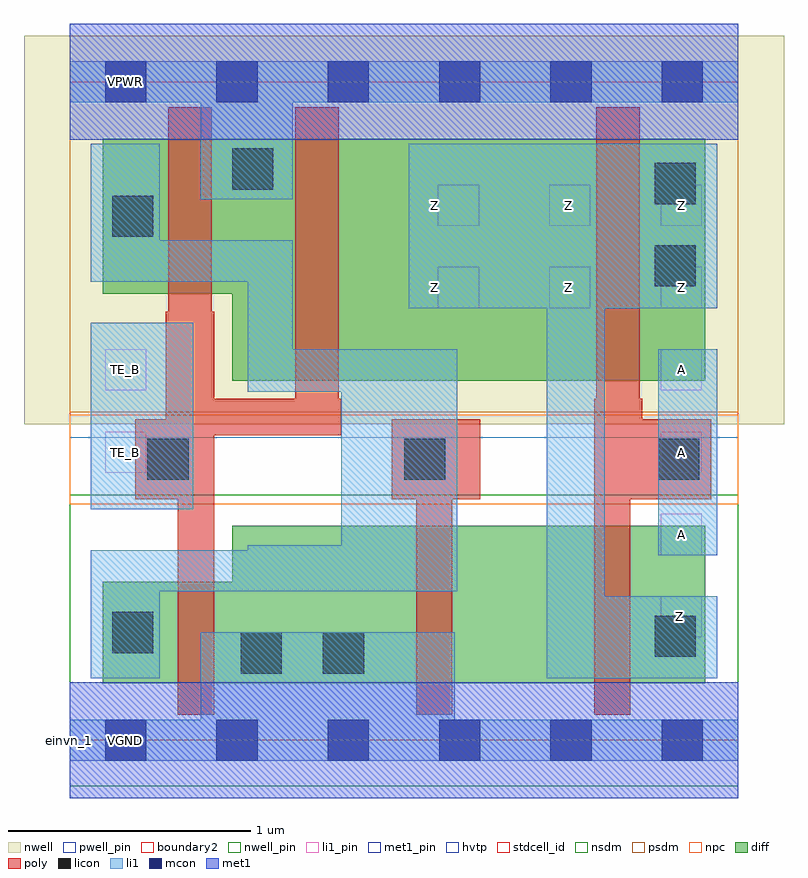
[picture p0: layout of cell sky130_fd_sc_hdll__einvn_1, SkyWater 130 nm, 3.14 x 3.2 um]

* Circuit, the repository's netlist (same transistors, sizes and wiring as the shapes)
* Copyright 2020 The SkyWater PDK Authors
*
* Licensed under the Apache License, Version 2.0 (the "License");
* you may not use this file except in compliance with the License.
* You may obtain a copy of the License at
*
*     https://www.apache.org/licenses/LICENSE-2.0
*
* Unless required by applicable law or agreed to in writing, software
* distributed under the License is distributed on an "AS IS" BASIS,
* WITHOUT WARRANTIES OR CONDITIONS OF ANY KIND, either express or implied.
* See the License for the specific language governing permissions and
* limitations under the License.
*
* SPDX-License-Identifier: Apache-2.0

.SUBCKT sky130_fd_sc_hdll__einvn_1 A TE_B VGND VNB VPB VPWR Z
*.PININFO A:I TE_B:I VGND:I VNB:I VPB:I VPWR:I Z:O
MMN0 Z A sndA VNB sky130_fd_pr__nfet_01v8 m=1 w=0.65U l=0.15U mult=1 sa=0.265 sb=0.265
+ sd=0.28 area=0.063 perim=1.14
MMN1 sndA net25 VGND VNB sky130_fd_pr__nfet_01v8 m=1 w=0.65U l=0.15U mult=1 sa=0.265
+ sb=0.265 sd=0.28 area=0.063 perim=1.14
MMIN1 net25 TE_B VGND VNB sky130_fd_pr__nfet_01v8 m=1 w=0.42U l=0.15U mult=1 sa=0.265
+ sb=0.265 sd=0.28 area=0.063 perim=1.14
MMP0 VPWR TE_B sndTEB VPB sky130_fd_pr__pfet_01v8_hvt m=1 w=1.0U l=0.18U mult=1
+ sa=0.265 sb=0.265 sd=0.28 area=0.063 perim=1.14
MMP1 sndTEB A Z VPB sky130_fd_pr__pfet_01v8_hvt m=1 w=1.0U l=0.18U mult=1 sa=0.265
+ sb=0.265 sd=0.28 area=0.063 perim=1.14
MMIP1 net25 TE_B VPWR VPB sky130_fd_pr__pfet_01v8_hvt m=1 w=0.64U l=0.18U mult=1
+ sa=0.265 sb=0.265 sd=0.28 area=0.063 perim=1.14
.ENDS sky130_fd_sc_hdll__einvn_1

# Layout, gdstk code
import gdstk
lib = gdstk.Library(unit=1e-6, precision=1e-09)
def R(c, l, rs):  # rectangles x0, y0, x1, y1
    for r in rs: c.add(gdstk.rectangle(r[:2], r[2:], *l))
def A(c, l, x, y, w, h, nx, ny, dx, dy):  # array of equal rectangles
    R(c, l, [(x+i*dx, y+j*dy, x+i*dx+w, y+j*dy+h) for i in range(nx) for j in range(ny)])
def P(c, l, *ps):  # polygons
    for p in ps: c.add(gdstk.Polygon(p, *l))
nwell_pin = (64, 16)
nwell = (64, 20)
diff = (65, 20)
poly = (66, 20)
licon = (66, 44)
li1_pin = (67, 16)
li1 = (67, 20)
mcon = (67, 44)
met1_pin = (68, 16)
met1 = (68, 20)
hvtp = (78, 44)
stdcell_id = (81, 4)
nsdm = (93, 44)
psdm = (94, 20)
npc = (95, 20)
pwell_pin = (122, 16)
boundary2 = (236, 0)

sky130_fd_sc_hdll__einvn = lib.new_cell('sky130_fd_sc_hdll__einvn_1')
R(sky130_fd_sc_hdll__einvn, nwell_pin, [(0.145,2.635,0.315,2.805)])
R(sky130_fd_sc_hdll__einvn, nwell, [(-0.19,1.305,2.95,2.91)])
P(sky130_fd_sc_hdll__einvn, diff, [(2.625,2.485),(0.135,2.485),(0.135,1.845),(0.67,1.845),(0.67,1.485),(2.625,1.485)],
  [(2.625,0.885),(0.67,0.885),(0.67,0.655),(0.135,0.655),(0.135,0.235),(2.625,0.235)])
P(sky130_fd_sc_hdll__einvn, poly, [(1.12,1.41),(1.11,1.41),(1.11,2.615),(0.93,2.615),(0.93,1.41),(0.595,1.41),(0.595,1.77),(0.585,1.77),(0.585,2.615),(0.405,2.615),(0.405,1.77),(0.395,1.77),(0.395,1.325),(0.27,1.325),(0.27,0.995),(0.445,0.995),(0.445,0.105),(0.595,0.105),(0.595,1.26),(1.12,1.26)],
  [(1.695,1.325),(1.33,1.325),(1.33,0.995),(1.43,0.995),(1.43,0.105),(1.58,0.105),(1.58,0.995),(1.695,0.995)],
  [(2.65,1.325),(2.365,1.325),(2.365,1.41),(2.355,1.41),(2.355,2.615),(2.175,2.615),(2.175,1.41),(2.165,1.41),(2.165,0.105),(2.315,0.105),(2.315,0.995),(2.65,0.995)])
R(sky130_fd_sc_hdll__einvn, licon, [(0.705,0.275,0.875,0.445), (1.045,0.275,1.215,0.445), (2.415,0.345,2.585,0.515), (0.175,0.36,0.345,0.53), (0.32,1.075,0.49,1.245), (1.38,1.075,1.55,1.245), (2.43,1.075,2.6,1.245), (2.415,1.875,2.585,2.045), (0.175,2.08,0.345,2.25), (2.415,2.215,2.585,2.385), (0.67,2.275,0.84,2.445)])
A(sky130_fd_sc_hdll__einvn, li1_pin, 2.44, 0.425, 0.17, 0.17, 1, 4, 0, 0.34)
A(sky130_fd_sc_hdll__einvn, li1_pin, 1.52, 1.785, 0.17, 0.17, 3, 2, 0.46, 0.34)
R(sky130_fd_sc_hdll__einvn, li1_pin, [(0.145,1.105,0.315,1.275), (0.145,1.445,0.315,1.615)])
R(sky130_fd_sc_hdll__einvn, li1, [(2.43,0.765,2.675,1.615), (0.085,0.955,0.51,1.725)])
P(sky130_fd_sc_hdll__einvn, li1, [(2.76,2.805),(0,2.805),(0,2.635),(0.54,2.635),(0.54,2.235),(0.92,2.235),(0.92,2.635),(2.76,2.635)],
  [(1.6,1.615),(0.92,1.615),(0.92,2.065),(0.37,2.065),(0.37,2.465),(0.085,2.465),(0.085,1.895),(0.735,1.895),(0.735,1.44),(1.12,1.44),(1.12,0.805),(0.735,0.805),(0.735,0.785),(0.085,0.785),(0.085,0.255),(0.37,0.255),(0.37,0.615),(1.6,0.615)],
  [(2.675,0.595),(2.21,0.595),(2.21,1.785),(2.675,1.785),(2.675,2.465),(1.4,2.465),(1.4,1.785),(1.97,1.785),(1.97,0.255),(2.675,0.255)],
  [(2.76,0.085),(1.59,0.085),(1.59,0.445),(0.54,0.445),(0.54,0.085),(0,0.085),(0,-0.085),(2.76,-0.085)])
A(sky130_fd_sc_hdll__einvn, mcon, 0.145, -0.085, 0.17, 0.17, 6, 2, 0.46, 2.72)
R(sky130_fd_sc_hdll__einvn, met1_pin, [(0.145,-0.085,0.315,0.085), (0.145,2.635,0.315,2.805)])
R(sky130_fd_sc_hdll__einvn, met1, [(0,-0.24,2.76,0.24), (0,2.48,2.76,2.96)])
R(sky130_fd_sc_hdll__einvn, hvtp, [(0,1.25,2.76,2.72)])
R(sky130_fd_sc_hdll__einvn, stdcell_id, [(0,0,2.76,2.72)])
R(sky130_fd_sc_hdll__einvn, nsdm, [(0,-0.19,2.76,1.015)])
R(sky130_fd_sc_hdll__einvn, psdm, [(0,1.355,2.76,2.91)])
R(sky130_fd_sc_hdll__einvn, npc, [(0,0.975,2.76,1.345)])
R(sky130_fd_sc_hdll__einvn, pwell_pin, [(0.145,-0.085,0.315,0.085)])
R(sky130_fd_sc_hdll__einvn, boundary2, [(0,0,2.76,2.72)])
sky130_fd_sc_hdll__einvn.add(gdstk.Label('Z', (1.505,1.87), layer=67, texttype=5))
sky130_fd_sc_hdll__einvn.add(gdstk.Label('Z', (1.505,2.21), layer=67, texttype=5))
sky130_fd_sc_hdll__einvn.add(gdstk.Label('Z', (2.06,1.87), layer=67, texttype=5))
sky130_fd_sc_hdll__einvn.add(gdstk.Label('Z', (2.06,2.21), layer=67, texttype=5))
sky130_fd_sc_hdll__einvn.add(gdstk.Label('Z', (2.525,2.21), layer=67, texttype=5))
sky130_fd_sc_hdll__einvn.add(gdstk.Label('Z', (2.525,1.87), layer=67, texttype=5))
sky130_fd_sc_hdll__einvn.add(gdstk.Label('Z', (2.52,0.51), layer=67, texttype=5))
sky130_fd_sc_hdll__einvn.add(gdstk.Label('A', (2.525,0.85), layer=67, texttype=5))
sky130_fd_sc_hdll__einvn.add(gdstk.Label('A', (2.525,1.19), layer=67, texttype=5))
sky130_fd_sc_hdll__einvn.add(gdstk.Label('A', (2.525,1.53), layer=67, texttype=5))
sky130_fd_sc_hdll__einvn.add(gdstk.Label('TE_B', (0.23,1.53), layer=67, texttype=5))
sky130_fd_sc_hdll__einvn.add(gdstk.Label('TE_B', (0.23,1.19), layer=67, texttype=5))
sky130_fd_sc_hdll__einvn.add(gdstk.Label('VGND', (0.23,0), layer=68, texttype=5))
sky130_fd_sc_hdll__einvn.add(gdstk.Label('VPWR', (0.23,2.72), layer=68, texttype=5))
sky130_fd_sc_hdll__einvn.add(gdstk.Label('VPB', (0.23,2.72), layer=64, texttype=5))
sky130_fd_sc_hdll__einvn.add(gdstk.Label('VNB', (0.23,0), layer=64, texttype=59))
sky130_fd_sc_hdll__einvn.add(gdstk.Label('einvn_1', (0,0), layer=83, texttype=44))

lib.write_gds('sky130_fd_sc_hdll__einvn_1.gds')
